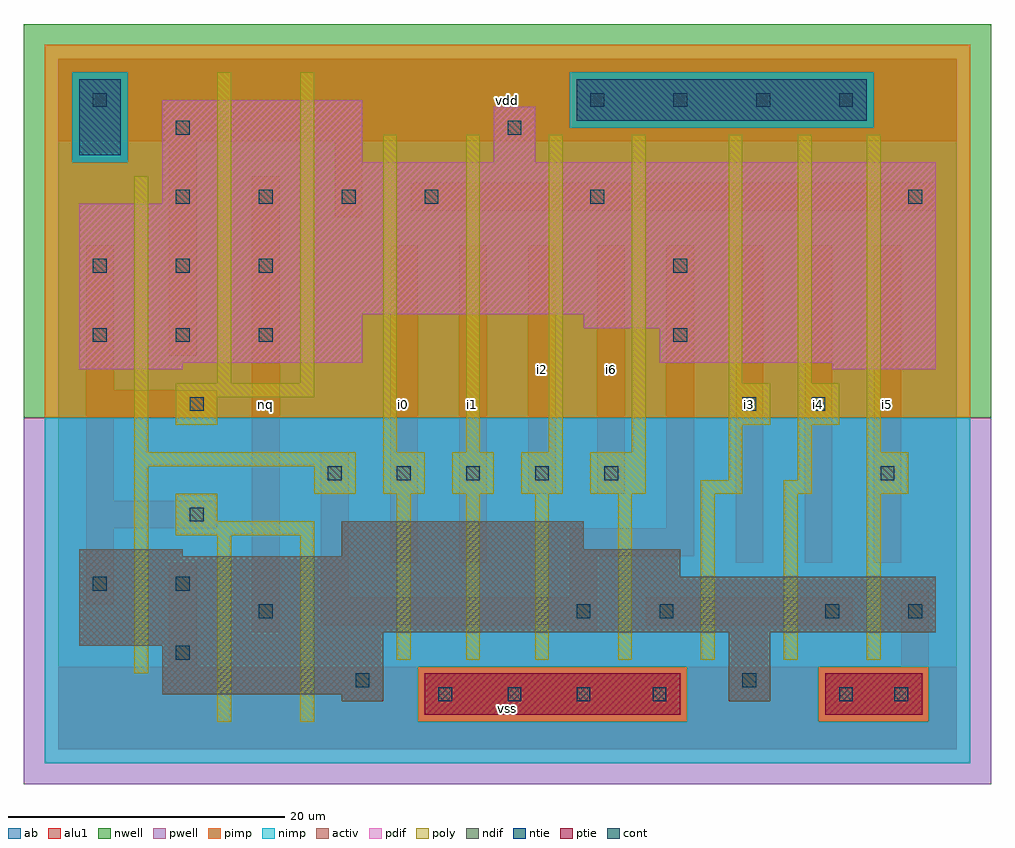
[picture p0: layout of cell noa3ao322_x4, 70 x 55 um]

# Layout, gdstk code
import gdstk
lib = gdstk.Library(unit=1e-6, precision=1e-09)
def R(c, l, rs):  # rectangles x0, y0, x1, y1
    for r in rs: c.add(gdstk.rectangle(r[:2], r[2:], *l))
def A(c, l, x, y, w, h, nx, ny, dx, dy):  # array of equal rectangles
    R(c, l, [(x+i*dx, y+j*dy, x+i*dx+w, y+j*dy+h) for i in range(nx) for j in range(ny)])
ndif = (3, 0)
pdif = (4, 0)
ntie = (5, 0)
ptie = (6, 0)
cont = (25, 0)
pwell = (41, 0)
nwell = (42, 0)
activ = (43, 0)
pimp = (44, 0)
nimp = (45, 0)
poly = (46, 0)
alu1 = (49, 0)
ab = (63, 0)

noa3ao322_x4 = lib.new_cell('noa3ao322_x4')
R(noa3ao322_x4, ndif, [(20.5,3.5,23.5,4), (48.5,3.5,51.5,8.5), (7.5,4,23.5,7.5), (1.5,7.5,23.5,8.5), (1.5,8.5,63.5,12.5), (1.5,12.5,45,14), (1.5,14,9,14.5), (20.5,14,45,14.5), (20.5,14.5,38,16.5)])
R(noa3ao322_x4, pdif, [(1.5,27.5,9,28), (56,27.5,63.5,28), (1.5,28,22,31.5), (43.5,28,63.5,30.5), (38,30.5,63.5,31.5), (1.5,31.5,63.5,39.5), (7.5,39.5,63.5,42.5), (7.5,42.5,22,47), (31.5,42.5,34.5,46.5)])
R(noa3ao322_x4, ntie, [(1.5,43,4.5,48.5), (37.5,45.5,58.5,48.5)])
R(noa3ao322_x4, ptie, [(26.5,2.5,45,5.5), (55.5,2.5,62.5,5.5)])
A(noa3ao322_x4, cont, 27.5, 3.5, 1, 1, 3, 1, 5, 0)
A(noa3ao322_x4, cont, 19.5, 19.5, 1, 1, 5, 1, 5, 0)
A(noa3ao322_x4, cont, 2.5, 29.5, 1, 1, 3, 2, 6, 5)
A(noa3ao322_x4, cont, 8.5, 39.5, 1, 1, 4, 1, 6, 0)
A(noa3ao322_x4, cont, 38.5, 46.5, 1, 1, 4, 1, 6, 0)
R(noa3ao322_x4, cont, [(43,3.5,44,4.5), (56.5,3.5,57.5,4.5), (60.5,3.5,61.5,4.5), (21.5,4.5,22.5,5.5), (49.5,4.5,50.5,5.5), (8.5,6.5,9.5,7.5), (14.5,9.5,15.5,10.5), (37.5,9.5,38.5,10.5), (43.5,9.5,44.5,10.5), (55.5,9.5,56.5,10.5), (61.5,9.5,62.5,10.5), (2.5,11.5,3.5,12.5), (8.5,11.5,9.5,12.5), (9.5,16.5,10.5,17.5), (59.5,19.5,60.5,20.5), (9.5,24.5,10.5,25.5), (49.5,24.5,50.5,25.5), (54.5,24.5,55.5,25.5), (44.5,29.5,45.5,30.5), (44.5,34.5,45.5,35.5), (38.5,39.5,39.5,40.5), (61.5,39.5,62.5,40.5), (8.5,44.5,9.5,45.5), (32.5,44.5,33.5,45.5), (2.5,46.5,3.5,47.5)])
R(noa3ao322_x4, pwell, [(-2.5,-2.5,67.5,24)])
R(noa3ao322_x4, nwell, [(-2.5,24,67.5,52.5)])
R(noa3ao322_x4, activ, [(26.5,2.5,45,5.5), (55.5,2.5,62.5,5.5), (20.5,3.5,23.5,4), (48.5,3.5,51.5,8.5), (7.5,4,23.5,7.5), (1.5,7.5,23.5,8.5), (1.5,8.5,63.5,12.5), (1.5,12.5,45,14), (1.5,14,9,14.5), (20.5,14,45,14.5), (20.5,14.5,38,16.5), (1.5,27.5,9,28), (56,27.5,63.5,28), (1.5,28,22,31.5), (43.5,28,63.5,30.5), (38,30.5,63.5,31.5), (1.5,31.5,63.5,39.5), (7.5,39.5,63.5,42.5), (7.5,42.5,22,47), (31.5,42.5,34.5,46.5), (1.5,43,4.5,48.5), (37.5,45.5,58.5,48.5)])
R(noa3ao322_x4, pimp, [(26,2,45.5,6), (55,2,63,6), (-1,24,66,42.5), (-1,42.5,1,49), (5,42.5,66,45), (5,45,37,49), (59,45,66,49), (-1,49,66,51)])
R(noa3ao322_x4, nimp, [(-1,-1,66,2), (-1,2,26,6), (45.5,2,55,6), (63,2,66,6), (-1,6,66,24), (1,42.5,5,49), (37,45,59,49)])
A(noa3ao322_x4, poly, 24.5, 6.5, 1, 12, 3, 1, 5, 0)
A(noa3ao322_x4, poly, 40.5, 6.5, 1, 12, 4, 1, 6, 0)
A(noa3ao322_x4, poly, 23.5, 18.5, 3, 3, 3, 1, 5, 0)
A(noa3ao322_x4, poly, 23.5, 21.5, 1, 23, 4, 1, 6, 0)
R(noa3ao322_x4, poly, [(11.5,2,12.5,15.5), (17.5,2,18.5,15.5), (5.5,5.5,6.5,20.5), (8.5,15.5,18.5,16.5), (8.5,16.5,11.5,18.5), (18.5,18.5,21.5,20.5), (38.5,18.5,42.5,21.5), (46.5,18.5,49.5,19.5), (52.5,18.5,54.5,19.5), (58.5,18.5,61.5,21.5), (48.5,19.5,49.5,23.5), (53.5,19.5,54.5,23.5), (5.5,20.5,21.5,21.5), (5.5,21.5,6.5,41.5), (58.5,21.5,59.5,44.5), (8.5,23.5,11.5,25.5), (48.5,23.5,51.5,26.5), (53.5,23.5,56.5,26.5), (8.5,25.5,18.5,26.5), (11.5,26.5,12.5,49), (17.5,26.5,18.5,49), (48.5,26.5,49.5,44.5), (53.5,26.5,54.5,44.5)])
R(noa3ao322_x4, alu1, [(0,0,65,6), (0,0,65,6), (8,6,10,13.5), (8,6,10,13.5), (61,6,63,11.5), (61,6,63,11.5), (14,8.5,16,41.5), (14,8.5,16,41.5), (37,8.5,39,9), (37,8.5,39,9), (19,9,39,11), (19,9,39,11), (42.5,9,57.5,11), (42.5,9,57.5,11), (2,10.5,4,16), (2,10.5,4,16), (19,11,21,21.5), (19,11,21,21.5), (37,11,39,14), (37,11,39,14), (24,13.5,26,36.5), (24,13.5,26,36.5), (29,13.5,31,36.5), (29,13.5,31,36.5), (49,13.5,51,36.5), (49,13.5,51,36.5), (54,13.5,56,36.5), (54,13.5,56,36.5), (59,13.5,61,36.5), (59,13.5,61,36.5), (37,14,46,16), (37,14,46,16), (2,16,11.5,18), (2,16,11.5,18), (44,16,46,36.5), (44,16,46,36.5), (2,18,4,24), (2,18,4,24), (34,18.5,36,36.5), (34,18.5,36,36.5), (39,18.5,41,36.5), (39,18.5,41,36.5), (2,24,11.5,26), (2,24,11.5,26), (2,26,4,36.5), (2,26,4,36.5), (8,28.5,10,44), (8,28.5,10,44), (20,38.5,22,44), (20,38.5,22,44), (25.5,39,63.5,41), (25.5,39,63.5,41), (0,44,65,50), (0,44,65,50)])
R(noa3ao322_x4, ab, [(0,0,65,50)])
noa3ao322_x4.add(gdstk.Label('i0', (25,25), layer=49, texttype=0))
noa3ao322_x4.add(gdstk.Label('i1', (30,25), layer=49, texttype=0))
noa3ao322_x4.add(gdstk.Label('nq', (15,25), layer=49, texttype=0))
noa3ao322_x4.add(gdstk.Label('vss', (32.5,3), layer=49, texttype=0))
noa3ao322_x4.add(gdstk.Label('i6', (40,27.5), layer=49, texttype=0))
noa3ao322_x4.add(gdstk.Label('i2', (35,27.5), layer=49, texttype=0))
noa3ao322_x4.add(gdstk.Label('vdd', (32.5,47), layer=49, texttype=0))
noa3ao322_x4.add(gdstk.Label('i4', (55,25), layer=49, texttype=0))
noa3ao322_x4.add(gdstk.Label('i5', (60,25), layer=49, texttype=0))
noa3ao322_x4.add(gdstk.Label('i3', (50,25), layer=49, texttype=0))

lib.write_gds('noa3ao322_x4.gds')
